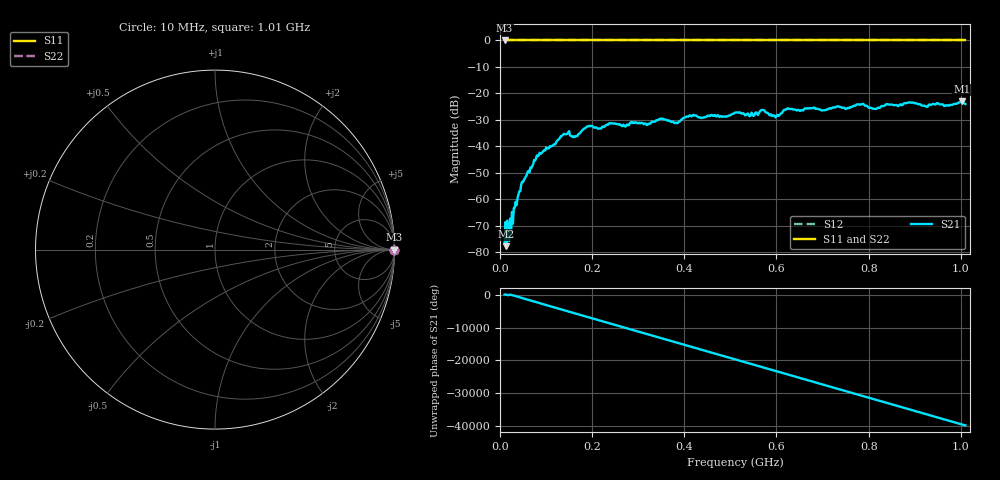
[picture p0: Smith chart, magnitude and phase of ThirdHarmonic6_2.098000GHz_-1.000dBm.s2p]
! 8/17/2025 1:06:22 AM
! C:\ANRITSUVNA\TEMP\TEMP.S2P
! CHANNEL.1
! TR.MEASUREMENT
! RAW.DATA
! RF.CORRECTION.OFF
! AVERAGING.OFF
! IF.BANDWIDTH: 5KHZ
! SWEEPTYPE:  FREQ.SWEEP(Linear)
! Reference Plane Port Info
! PORT:  PORT1  PORT2
! DISTANCE:  0  m  0  m
! TIME:  0  s  0  s
! PHASE.OFFSET:  0  deg.  0  deg.
! LOSS:  0  dB  0  dB
! REF.LOSS:  0  dB  0  dB
! REF.FREQ:  0  Hz  0  Hz
! Power Info
! POWER:  -20  dBm  -20  dBm
! EFF.POWER:  -20  dBm  -20  dBm
! SOURCE.ATTEN:  0  dB  0  dB
! TEST.ATTEN:  0  dB  0  dB
# GHZ S RI R 50.0
! FREQ.GHZ  S11RE  S11IM  S21RE  S21IM  S12RE  S12IM  S22RE  S22IM
!; PortSelection: Port_12
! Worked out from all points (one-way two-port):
!   501 points, 10 MHz to 1.01 GHz, reference 50 ohm
!   highest |S21| = -23.02 dB at 1.002 GHz (marker M1); lowest = -77.6 dB at 14 MHz (marker M2)
!   lowest |S11| = 0.0 dB at 10 MHz (marker M3)
!   |S11| at or under -10 dB: nowhere
!   |S22| runs from 0.0 to 0.0 dB; largest |S21 - S12| = 1.1
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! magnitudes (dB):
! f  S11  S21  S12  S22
! 10 MHz  0.0  -76.3  0.0  0.0
! 14 MHz  0.0  -77.6  0.0  0.0
! 24 MHz  0.0  -72.3  0.0  0.0
! 30 MHz  0.0  -63.2  0.0  0.0
! 50 MHz  0.0  -53.4  0.0  0.0
! 78 MHz  0.0  -44.6  0.0  0.0
! 136 MHz  0.0  -35.7  0.0  0.0
! 162 MHz  0.0  -36.5  0.0  0.0
! 178 MHz  0.0  -34.0  0.0  0.0
! 344 MHz  0.0  -29.9  0.0  0.0
! 382 MHz  0.0  -31.0  0.0  0.0
! 416 MHz  0.0  -28.6  0.0  0.0
! 510 MHz  0.0  -27.2  0.0  0.0
! 570 MHz  0.0  -26.2  0.0  0.0
! 600 MHz  0.0  -28.5  0.0  0.0
! 624 MHz  0.0  -25.6  0.0  0.0
! 678 MHz  0.0  -25.5  0.0  0.0
! 784 MHz  0.0  -24.2  0.0  0.0
! 814 MHz  0.0  -25.9  0.0  0.0
! 844 MHz  0.0  -24.2  0.0  0.0
! 1.002 GHz  0.0  -23.0  0.0  0.0
! 1.01 GHz  0.0  -24.0  0.0  0.0
